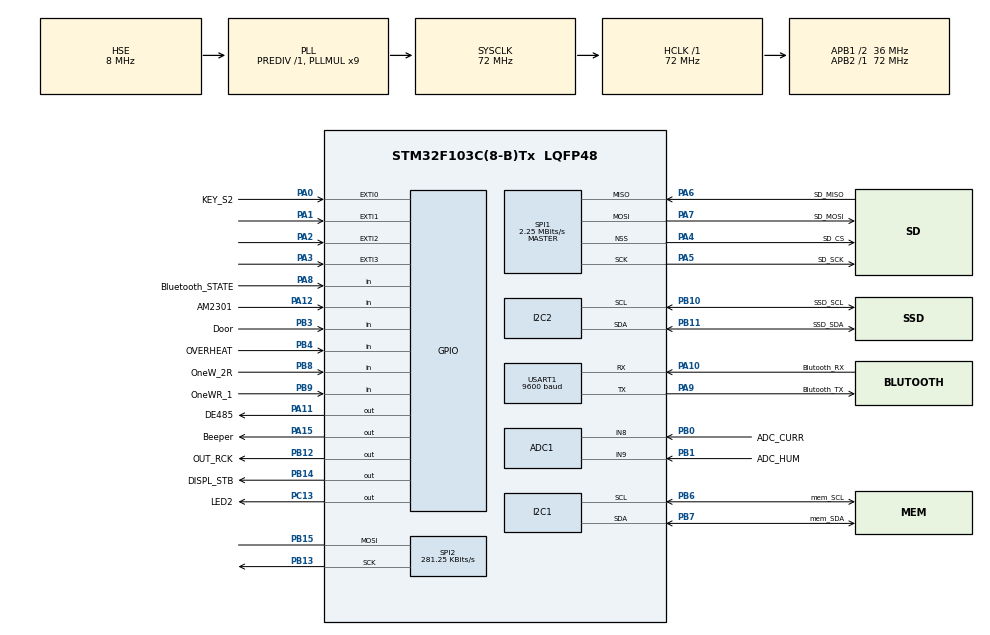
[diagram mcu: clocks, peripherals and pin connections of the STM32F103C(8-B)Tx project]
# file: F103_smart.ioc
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Mcu.Family=STM32F1
PA11.GPIO_Speed=GPIO_SPEED_FREQ_MEDIUM
PA6.Mode=Full_Duplex_Master
SPI1.VirtualType=VM_MASTER
SPI2.VirtualType=VM_MASTER
PB10.Mode=I2C
PA10.GPIO_PuPd=GPIO_PULLUP
USART1.BaudRate=9600
PB14.GPIO_Label=DISPL_STB
PA6.GPIO_Label=SD_MISO
PB0.GPIO_Label=ADC_CURR
PB6.GPIO_Label=mem_SCL
PA11.GPIO_PuPd=GPIO_PULLDOWN
PB11.Signal=I2C2_SDA
PB13.Signal=SPI2_SCK
PB15.Signal=SPI2_MOSI
RCC.SYSCLKSource=RCC_SYSCLKSOURCE_PLLCLK
ProjectManager.StackSize=0x400
PD1-OSC_OUT.Signal=RCC_OSC_OUT
PA15.GPIO_Label=Beeper
PA12.Signal=GPIO_Input
PA4.Mode=NSS_Signal_Hard_Output
ADC1.Channel-3\#ChannelRegularConversion=ADC_CHANNEL_8
SPI1.Direction=SPI_DIRECTION_2LINES
RCC.HCLKFreq_Value=72000000
RCC.APB2TimFreq_Value=72000000
TIM3.Period=2399
PB6.Signal=I2C1_SCL
Dma.ADC1.0.Direction=DMA_PERIPH_TO_MEMORY
PB12.PinState=GPIO_PIN_RESET
PB6.Mode=I2C
SPI1.CalculateBaudRate=2.25 MBits/s
Dma.ADC1.0.MemDataAlignment=DMA_MDATAALIGN_HALFWORD
RCC.AHBFreq_Value=72000000
SPI2.BaudRatePrescaler=SPI_BAUDRATEPRESCALER_128
RCC.PLLMUL=RCC_PLL_MUL9
PB12.GPIO_Label=OUT_RCK
ADC1.SamplingTime-4\#ChannelRegularConversion=ADC_SAMPLETIME_1CYCLE_5
PB3.GPIO_PuPd=GPIO_PULLUP
PA14.Mode=Serial_Wire
TIM3.Prescaler=2999
PB1.GPIO_Label=ADC_HUM
Dma.ADC1.0.PeriphInc=DMA_PINC_DISABLE
PA10.GPIO_Label=Blutooth_RX
SH.ADCx_IN8.0=ADC1_IN8,IN8
SPI2.CalculateBaudRate=281.25 KBits/s
PB7.Signal=I2C1_SDA
PA8.Signal=GPIO_Input
SPI1.VirtualNSS=VM_NSSHARD
TIM4.Period=2999
PC13-TAMPER-RTC.GPIO_Speed=GPIO_SPEED_FREQ_MEDIUM
PB7.GPIO_Label=mem_SDA
Mcu.Package=LQFP48
PB9.Signal=GPIO_Input
PB14.GPIO_PuPd=GPIO_PULLUP
PB1.Signal=ADCx_IN9
PA6.Signal=SPI1_MISO
SPI2.Mode=SPI_MODE_MASTER
PC13-TAMPER-RTC.GPIO_PuPd=GPIO_PULLUP
PA10.Signal=USART1_RX
PB9.GPIO_PuPd=GPIO_PULLUP
PA15.Signal=GPIO_Output
SH.ADCx_IN9.0=ADC1_IN9,IN9
RCC.APB1TimFreq_Value=72000000
SPI2.Direction=SPI_DIRECTION_1LINE
PB13.Mode=Simplex_Bidirectional_Master
NVIC.USART1_IRQn=true\:0\:0\:false\:false\:true\:true\:true
PA12.GPIO_PuPd=GPIO_PULLUP
Dma.Request0=ADC1
SPI1.BaudRatePrescaler=SPI_BAUDRATEPRESCALER_32
I2C2.I2C_Mode=I2C_Fast
PA4.GPIO_Label=SD_CS
VP_TIM3_VS_ClockSourceINT.Mode=Internal
ADC1.Rank-4\#ChannelRegularConversion=2
PB4.Signal=GPIO_Input
PA3.Signal=GPXTI3
PA5.Mode=Full_Duplex_Master
PB3.GPIO_Label=Door
RCC.PLLSourceVirtual=RCC_PLLSOURCE_HSE
Dma.ADC1.0.Instance=DMA1_Channel1
PA7.Mode=Full_Duplex_Master
PD1-OSC_OUT.Mode=HSE-External-Oscillator
PB9.GPIO_Label=OneWR_1
ADC1.Channel-4\#ChannelRegularConversion=ADC_CHANNEL_9
PA10.Mode=Asynchronous
PA9.GPIO_Label=Blutooth_TX
PB8.GPIO_PuPd=GPIO_PULLUP
PB11.GPIO_Label=SSD_SDA
PC13-TAMPER-RTC.Signal=GPIO_Output
PA11.GPIO_Label=DE485
PD0-OSC_IN.Signal=RCC_OSC_IN
RCC.APB1CLKDivider=RCC_HCLK_DIV2
PA0-WKUP.GPIO_ModeDefaultEXTI=GPIO_MODE_IT_FALLING
PA12.GPIO_Label=AM2301
PA0-WKUP.GPIO_Label=KEY_S2
PA0-WKUP.Signal=GPXTI0
RCC.ADCPresc=RCC_ADCPCLK2_DIV6
PA13.Signal=SYS_JTMS-SWDIO
PB8.GPIO_Label=OneW_2R
Dma.ADC1.0.PeriphDataAlignment=DMA_PDATAALIGN_HALFWORD
PA9.Mode=Asynchronous
PA8.GPIO_Label=Bluetooth_STATE
PB11.Mode=I2C
ProjectManager.TargetToolchain=MDK-ARM V5
PB14.GPIO_Speed=GPIO_SPEED_FREQ_MEDIUM
PB10.GPIO_Label=SSD_SCL
Dma.ADC1.0.Mode=DMA_NORMAL
Dma.ADC1.0.Priority=DMA_PRIORITY_LOW
PA9.Signal=USART1_TX
PB4.GPIO_PuPd=GPIO_PULLUP
RCC.USBFreq_Value=72000000
TIM4.Prescaler=23999
PA1.Signal=GPXTI1
PB12.GPIO_Speed=GPIO_SPEED_FREQ_MEDIUM
PD0-OSC_IN.Mode=HSE-External-Oscillator
PB10.Signal=I2C2_SCL
PB14.Signal=GPIO_Output
PA5.Signal=SPI1_SCK
board=custom
PC13-TAMPER-RTC.GPIO_Label=LED2
PB15.Mode=Simplex_Bidirectional_Master
NVIC.TIM3_IRQn=true\:0\:0\:false\:false\:true\:true\:true
RCC.APB2Freq_Value=72000000
PB4.GPIO_Label=OVERHEAT
SPI1.Mode=SPI_MODE_MASTER
ADC1.NbrOfConversion=2
PA13.Mode=Serial_Wire
Mcu.Name=STM32F103C(8-B)Tx
PA2.Signal=GPXTI2
PB3.Signal=GPIO_Input
PA4.Signal=SPI1_NSS
RCC.SYSCLKFreq_VALUE=72000000
PA7.GPIO_Label=SD_MOSI
ADC1.master=1
PA5.GPIO_Label=SD_SCK
ADC1.Rank-3\#ChannelRegularConversion=1
ADC1.SamplingTime-3\#ChannelRegularConversion=ADC_SAMPLETIME_1CYCLE_5
SPI2.FirstBit=SPI_FIRSTBIT_LSB
USART1.VirtualMode=VM_ASYNC
PB7.Mode=I2C
PA11.Signal=GPIO_Output
PA14.Signal=SYS_JTCK-SWCLK
Dma.ADC1.0.MemInc=DMA_MINC_ENABLE
ProjectManager.HeapSize=0x200
PA8.GPIO_PuPd=GPIO_PULLDOWN
VP_TIM4_VS_ClockSourceINT.Mode=Internal
NVIC.PriorityGroup=NVIC_PRIORITYGROUP_4
ADC1.NbrOfConversionFlag=1
PA15.GPIO_PuPd=GPIO_PULLUP
PB8.Signal=GPIO_Input
PA0-WKUP.GPIO_PuPd=GPIO_PULLUP
NVIC.DMA1_Channel1_IRQn=true\:0\:0\:false\:false\:true\:false\:true
PB12.GPIO_PuPd=GPIO_PULLDOWN
NVIC.TIM4_IRQn=true\:0\:0\:false\:false\:true\:true\:true
PA11.PinState=GPIO_PIN_RESET
RCC.APB1Freq_Value=36000000
PB0.Signal=ADCx_IN8
PB12.Signal=GPIO_Output
PA7.Signal=SPI1_MOSI

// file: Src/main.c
/* USER CODE BEGIN Header */
/**
  ******************************************************************************
  * @file           : main.c
  * @brief          : Main program body
  ******************************************************************************
  * @attention
  *
  * <h2><center>&copy; Copyright (c) 2019 STMicroelectronics.
  * All rights reserved.</center></h2>
  *
  * This software component is licensed by ST under BSD 3-Clause license,
  * the "License"; You may not use this file except in compliance with the
  * License. You may obtain a copy of the License at:
  *                        opensource.org/licenses/BSD-3-Clause
  *
  ******************************************************************************
  */
/* USER CODE END Header */

#include "main.h"

/* USER CODE BEGIN Includes */
#include "proc.h"
#include "module.h"
#include "ds18b20.h"
#include "hih.h"
//#include "stm32f1xx_hal_adc.h"
/* USER CODE END Includes */

/* USER CODE BEGIN PD */
void bluetoothCallback(void);
void bluetoothName(void);
/* USER CODE END PD */

ADC_HandleTypeDef hadc1;
DMA_HandleTypeDef hdma_adc1;

I2C_HandleTypeDef hi2c1;
I2C_HandleTypeDef hi2c2;

SPI_HandleTypeDef hspi1;
SPI_HandleTypeDef hspi2;

TIM_HandleTypeDef htim3;
TIM_HandleTypeDef htim4;

UART_HandleTypeDef huart1;

/* USER CODE BEGIN PV */
volatile uint16_t adc[2] = {0,0};      // у нас два канала АЦП, поэтому массив из двух элементов
volatile uint8_t flag = 0;             // флаг окончания преобразования АЦП

union Byte portOut;
union Byte portFlag;

extern uint8_t ds18b20_amount, disableBeep, topOwner, topUser, botUser, ok0, ok1, psword, pvAeration;
extern int16_t buf, valRun;

extern struct {
  uint8_t RXBuffer[2];
  uint8_t TXBuffer[2];
  uint8_t buf[60];
  uint8_t ind;
  uint8_t timeOut;
  uint8_t devOk;
} bluetoothData;

extern struct {
  uint8_t eepAddr;
  uint8_t sizeAddr;
  uint8_t pageSize;
} eepMem;

// -------- ISIDA ------
uint8_t show=0, getButton=0, modules=0, setup, servis, waitset, waitkey=WAITCOUNT;
int8_t countsec=-10, displmode;
/*
ext[0] модуль Холла
ext[1] модуль ГОРИЗОНТА
ext[2] модуль СО2
ext[3] модуль заслонок
*/
int16_t pwTriac0, pwTriac1, pulsPeriod, beepOn, alarmErr;
uint16_t currAdc, humAdc, statPw[2];
/* ----------------------------- BEGIN point value -------------------------------------- */
union pointvalue{
  uint8_t pvdata[30];
  struct rampv {
   uint16_t cellID;               // 2 байт ind=0         сетевой номер и тип прибора
    int16_t pvT[MAX_DEVICES];     // 8 байт ind=2-ind=9   значения [MAX_DEVICES] датчиков температуры
    int16_t pvRH;                 // 2 байт ind=10;ind=11 значение датчика относительной влажности
    int16_t pvCO2[3];             // 6 байт ind=12-ind=17 значения датчика CO2 ---------- ИТОГО 18 bytes ------------
    uint8_t pvTimer;              // 1 байт ind=18        значение таймера
    uint8_t pvTmrCount;           // 1 байт ind=19        не используется !!!!!!!!!!!!!!!!!!!!!!!!!
    uint8_t pvFlap;               // 1 байт ind=20        положение заслонки
    int8_t power;                 // 1 байт ind=21        мощность подаваемая на тены
    uint8_t fuses;                // 1 байт ind=22        короткие замыкания
    uint8_t errors, warning;      // 2 байт ind=23;ind=24 ошибки и предупреждения
    uint8_t cost0, cost1;         // 2 байт ind=25;ind=26 затраты ресурсов
    uint8_t date, hours;          // 2 байт ind=27;ind=28 счетчики суток и часов
    uint8_t other0;               // 1 байт ind=29        не используется !!!!!!!!!!!!!!!!!!!!!!!!!
  } pv;// ------------------ ИТОГО 30 bytes -------------------------------
} upv;

uint32_t summCurr=0;

/* ----------------------------- BEGIN EEPROM ------------------------------------------- */
union serialdata{
  uint8_t data[EEP_DATA];
  struct eeprom {
    int16_t spT[2];     // 4 байт ind=0-ind=3   Уставка температуры sp[0].spT->Сухой датчик; sp[1].spT->Влажный датчик
    int16_t spRH[2];    // 4 байт ind=4-ind=7   sp[0].spRH->ПОДСТРОЙКА HIH-5030; sp[1].spRH->Уставка влажности Датчик HIH-5030
    int16_t K[2];       // 4 байт ind=8-ind=11  пропорциональный коэфф.
    int16_t Ti[2];      // 4 байт ind=12-ind=15 интегральный коэфф.
    int16_t minRun;     // 2 байт ind=16;ind=17 импульсное управление насосом увлажнителя
    int16_t maxRun;     // 2 байт ind=18;ind=19 не используется !!!!!!!!!!!!!!!!!!!!!!!!!
    int16_t period;     // 2 байт ind=20;ind=21 импульсное управление насосом увлажнителя
    int16_t TimeOut;    // 2 байт ind=22;ind=23 время ожидания начала режима охлаждения
    int16_t EnergyMeter;// 2 байт ind=24;ind=25 счетчик элктрической энергии  ----------- ИТОГО 26 bytes ------------
    int8_t timer[2];    // 2 байт ind=26;ind=27 [0]-отключ.состояниe [1]-включ.состояниe
    int8_t alarm[2];    // 2 байт ind=28;ind=29 дельта 5 = 0.5 гр.C
    int8_t extOn[2];    // 2 байт ind=30;ind=31 смещение для ВКЛ. вспомогательного канала
    int8_t extOff[2];   // 2 байт ind=32;ind=33 смещение для ОТКЛ. вспомогательного канала
    uint8_t air[2];     // 2 байт ind=34;ind=35 таймер проветривания air[0]-пауза; air[1]-работа; если air[1]=0-ОТКЛЮЧЕНО
    uint8_t spCO2;      // 1 байт ind=36;       опорное значение для управления концетрацией СО2
    uint8_t identif;    // 1 байт ind=37;       сетевой номер прибора
    uint8_t condition;  // 1 байт ind=38;       состояние камеры (ОТКЛ. ВКЛ. ОХЛАЖДЕНИЕ, и т.д.)
    uint8_t extendMode; // 1 байт ind=39;       расширенный режим работы  0-СИРЕНА; 1-ВЕНТ. 2-Форс НАГР. 3-Форс ОХЛЖД. 4-Форс ОСУШ. 5-Дубляж увлажнения
    uint8_t relayMode;  // 1 байт ind=40;       релейный режим работы  0-НЕТ; 1->по кан.[0] 2->по кан.[1] 3->по кан.[0]&[1] 4->по кан.[1] импульсный режим
    uint8_t programm;   // 1 байт ind=41;       работа по программе
    uint8_t Hysteresis; // 1 байт ind=42;       Гистерезис канала увлажнения
    uint8_t ForceHeat;  // 1 байт ind=43;       Форсированный нагрев 5 = 0.5 грд.С.
    uint8_t TurnTime;   // 1 байт ind=44;       время ожидания прохода лотков в секундах
    uint8_t HihEnable;  // 1 байт ind=45;       разрешение использования датчика влажности
    uint8_t KoffCurr;   // 1 байт ind=46;       маштабный коэф. по току симистора  (160 для AC1010 или 80 для другого)
    uint8_t coolOn;     // 1 байт ind=47;       не используется !!!!!!!!!!!!!!!!!!!!!!!!!
    uint8_t coolOff;    // 1 байт ind=48;       не используется !!!!!!!!!!!!!!!!!!!!!!!!!
    uint8_t Zonality;   // 1 байт ind=49;       порог зональности в камере ----------- 24 bytes ------------
  } sp;                 // ------------------ ИТОГО 50 bytes -------------------------------
} eep;

/* ------------------------------ END EEPROM -------------------------------------------- */
#include "output.h"
#include "displ.h"
void dsplMss(uint8_t *data, struct rampv *ram);
void temperature_check(struct rampv *ram);
void am2301_port_init(void);
uint8_t am2301_Start(void);
uint8_t am2301_Read(struct rampv *ram, uint8_t biasHum);
void display(struct eeprom *t, struct rampv *ram);
void display_setup(struct eeprom *t);
void display_servis(struct rampv *ram);
void displ_3(int16_t val, int8_t mode, int8_t blink);
void rotate_trays(uint8_t timer0, uint8_t timer1, struct rampv *ram);
uint8_t sethorizon(uint8_t timer0, uint8_t TurnTime, struct rampv *ram);
int8_t chkflap(uint8_t cmd, uint8_t *pvF);
uint8_t readCO2(struct rampv *ram);
//------
void saveservis(struct eeprom *t);
void saveset(struct eeprom *t);
uint8_t reset(uint16_t memAddr, uint8_t *data);
void checkkey(struct eeprom *t, int16_t pvT0);
//void pushkey(void);
void chkdoor(struct eeprom *t, struct rampv *ram);
void init(struct eeprom *t, struct rampv *ram);
/* USER CODE END PV */

void SystemClock_Config(void);
static void MX_GPIO_Init(void);
static void MX_DMA_Init(void);
static void MX_I2C1_Init(void);
static void MX_I2C2_Init(void);
static void MX_ADC1_Init(void);
static void MX_TIM3_Init(void);
static void MX_TIM4_Init(void);
static void MX_SPI2_Init(void);
static void MX_USART1_UART_Init(void);
static void MX_SPI1_Init(void);

int main(void)
{
  /* USER CODE BEGIN 1 */
  int8_t tmpbyte;
  /* USER CODE END 1 */

  /* MCU Configuration--------------------------------------------------------*/

  /* Reset of all peripherals, Initializes the Flash interface and the Systick. */
  HAL_Init();

  /* USER CODE BEGIN Init */
  sysTick_Init();   // 1mS
  bluetoothData.TXBuffer[0] = 0x0D;  bluetoothData.TXBuffer[1] = 0x0A;  // "\r\n"
  eepMem.eepAddr = (0x50 << 1); // HAL expects address to be shifted one bit to the left
  eepMem.sizeAddr = I2C_MEMADD_SIZE_8BIT;
  eepMem.pageSize = 16;          // AT24C04A или AT24C08A. The 4K/8K EEPROM is capable of 16-byte page writes
  portOut.value = 0;
  portFlag.value = 0;
  topOwner=MAXOWNER;
  topUser=TOPUSER;
  botUser=BOTUSER;
  CHECK = 1;
  /* USER CODE END Init */

  /* Configure the system clock */
  SystemClock_Config();

  /* Initialize all configured peripherals */
  MX_GPIO_Init();
  MX_DMA_Init();
  MX_I2C1_Init();
  MX_I2C2_Init();
  MX_ADC1_Init();
  MX_TIM3_Init();
  MX_TIM4_Init();
  MX_SPI2_Init();
  MX_USART1_UART_Init();
  MX_SPI1_Init();
  /* USER CODE BEGIN 2 */
  set_Output();
	HAL_TIM_Base_Start_IT(&htim4);	/* ------  таймер 1Гц.   период 1000 мс.  ----*/
	HAL_TIM_Base_Start_IT(&htim3);	/* ------  таймер 6Гц.   период 166 мс.  ----*/
  HAL_ADCEx_Calibration_Start(&hadc1);            // калибровкa АЦП
  HAL_UART_Receive_IT(&huart1,(uint8_t*)bluetoothData.RXBuffer,2);
//  HAL_GPIO_WritePin(LED2_GPIO_Port, LED2_Pin, GPIO_PIN_SET);  // LED Off
  //--------- ХОЛОСТОЕ ВЫПОЛНЕНИЕ при котором каналы распологаются правильно --------
  HAL_ADC_Start_DMA(&hadc1, (uint32_t*)&adc, 2);  // стартуем АЦП
  while(flag==0);
  flag = 0;
  //----------- Теперь каналы сдвинуты. Последний стал первым -----------------------
  HAL_ADC_Start_DMA(&hadc1, (uint32_t*)&adc, 2);  // стартуем АЦП
  while(flag==0);
  flag = 0;
  currAdc = adc[0]; humAdc = adc[1];
  adc[0] = 0; adc[1] = 0;

  for(int8_t i=0;i<8;i++) {setChar(i,SIMBL_BL); PointOn(i);}// BL+точки
  SendDataTM1638();
	SendCmdTM1638(0x8F);       // Transmit the display control command to set maximum brightness (8FH)

  eep_read(0x0000, eep.data);
  if (eep.sp.identif == 0 || eep.sp.identif > 30) eep_initial(0x0000, eep.data);

  bluetoothName();
  init(&eep.sp, &upv.pv);   // инициализация
  temperature_check(&upv.pv);
  /* USER CODE END 2 */

  /* Infinite loop */
  /* USER CODE BEGIN WHILE */
  getButton = waitkey/4;
	while (1)
	{
  //----------------------------------- Теперь будем опрашивать три канала на одном АЦП с помощью DMA… -------------------------------------------

  /* ------------------------------------------- BEGIN таймер TIM3 6 Гц. ----------------------------------------------------------------------- */
      if (getButton>waitkey/4) checkkey(&eep.sp, upv.pv.pvT[0]);  //
//      if (getButton>waitkey/4) pushkey();
  /* -------------------------------------------- END таймер TIM3 6 Гц. ------------------------------------------------------------------------ */
  /* ------------------------------------------- BEGIN таймер TIM4 1 Гц. ----------------------------------------------------------------------- */
      if(CHECK){   // ------- новая секунда --------------------------------------------------------------
        CHECK=0; DISPLAY=1; ALARM=0; upv.pv.errors=0; upv.pv.warning=0; upv.pv.pvTmrCount = countsec;
        HAL_ADC_Start_DMA(&hadc1, (uint32_t*)&adc, 2);
        while(flag==0);
        flag = 0;
        currAdc = adcTomV(adc[0]);      // Channel 8 (Port B0) в мВ.
        humAdc  = adcTomV(adc[1]);      // Channel (Port B1) 9 в мВ.
        adc[0] = 0; adc[1] = 0;
// ----------- ************************************** --------------------------------------------------
        temperature_check(&upv.pv);
        if(AM2301) am2301_Read(&upv.pv, eep.sp.spRH[0]);
        else if(HIH5030){
           if(humAdc > 500){                          // humAdc => 500 mV для RH=0%
              upv.pv.pvRH = mVToRH(humAdc, eep.sp.spRH[0], upv.pv.pvT[0]);  // перевод в десятичное значение относительной влажности (%)
           }
           else upv.pv.pvRH = 255;
        }
  //---------------------- Состояние дверей; "подгототка к ОХЛАЖДЕНИЮ"; "подгототка к ВКЛЮЧЕНИЮ" --------------------------------------------------
        chkdoor(&eep.sp, &upv.pv);
        if((eep.sp.condition&0x18)==0x08) eep.sp.condition|= sethorizon(eep.sp.timer[0], eep.sp.TurnTime, &upv.pv);  // Установка в горизонтальное положение
  //------------------------------------------ Опрос модулей расширения ---------------------------------------------------------------------------
        if(modules&1) {
          tmpbyte = chkcooler(eep.sp.condition);
          if(tmpbyte<0) upv.pv.errors |= 0x40;        // Отказ модуля Холла
          else if(tmpbyte>0) upv.pv.warning |= 0x20;  // ОСТАНОВ тихоходного вентилятора
        }
        if(modules&2) {
          tmpbyte = chkhorizon(eep.sp.condition);
          if(tmpbyte<0) upv.pv.errors |= 0x40; // Отказ модуля ГОРИЗОНТ
          else if(tmpbyte>0) upv.pv.warning |= 0x40;  // НЕТ ПОВОРОТА лотков
        }
        if(modules&4) {
          tmpbyte = readCO2(&upv.pv);
          if(tmpbyte<0) upv.pv.errors |= 0x20;        // Отказ модуля CO2
        }
        if(modules&8) {
          tmpbyte = chkflap(0,&upv.pv.pvFlap);
          if(tmpbyte<0) upv.pv.errors |= 0x20;        // Отказ модуля заслонок
        }
  //------------------------------------------ КАМЕРА ВКЛЮЧЕНА в работу ---------------------------------------------------------------------------
        if (eep.sp.condition&1){
          // --------------------------------------- НАГРЕВАТЕЛЬ -----------------------------------------------------------------
          if(HAL_GPIO_ReadPin(OVERHEAT_GPIO_Port, OVERHEAT_Pin)==GPIO_PIN_RESET) upv.pv.errors |= 0x10;  // ПЕРЕГРЕВ СИМИСТОРА !!!
          else if((upv.pv.warning&0x20)==0){    // НЕТ ОСТАНОВА тихоходного вентилятора !!!
            if(upv.pv.pvT[0] < 850){
              int16_t err = eep.sp.spT[0] - upv.pv.pvT[0];
              if(heatCondition(err, eep.sp.alarm[0], eep.sp.extOn[0])) upv.pv.warning |= 0x01;
              pwTriac0 = heater(err, &eep.sp);
              if(pwTriac0) HEATER = 1;  // HEATER On
            }
            else upv.pv.errors |= 0x01;   // ОШИБКА ДАТЧИКА температуры !!!
          }
          upv.pv.power = pwTriac0 / 10;
          if(upv.pv.power > 100) upv.pv.power = 100; else if(upv.pv.power < 0) upv.pv.power = 0;
          // --------------------------------------- УВЛАЖНИТЕЛЬ -----------------------------------------------------------------
          if(ok0&1){  // отключение УВЛАЖНЕНИЯ при РАЗОГРЕВЕ и ПЕРЕОХЛАЖДЕНИИ
            if(HIH5030||AM2301){  // подключен электронный датчик влажности
              int16_t err = eep.sp.spRH[1] - upv.pv.pvRH;
              if(humCondition(err, eep.sp.alarm[1], eep.sp.extOn[1])) upv.pv.warning |= 0x02;
              // релейный режим работы  0-НЕТ; 1->по кан.[0] 2->по кан.[1] 3->по кан.[0]&[1] 4->по кан.[1] импульсный режим
              if(eep.sp.relayMode==4) valRun = humidifier(err, &eep.sp);
              else {
                pwTriac1 = humidifier(err, &eep.sp);
                if(pwTriac1 && (upv.pv.fuses&0x01)==0) HUMIDI = 1;  // HUMIDIFIER On
              }
            }
            else if(upv.pv.pvT[1] < 850){
              int16_t err = eep.sp.spT[1] - upv.pv.pvT[1];
              if(humCondition(err, eep.sp.alarm[1], eep.sp.extOn[1])) upv.pv.warning |= 0x02;
              // релейный режим работы  0-НЕТ; 1->по кан.[0] 2->по кан.[1] 3->по кан.[0]&[1] 4->по кан.[1] импульсный режим
              if(eep.sp.relayMode==4) valRun = humidifier(err, &eep.sp);
              else {
                pwTriac1 = humidifier(err, &eep.sp);
                if(pwTriac1 && (upv.pv.fuses&0x01)==0) HUMIDI = 1;  // HUMIDIFIER On
              }
            }
            else upv.pv.errors |= 0x02;   // ОШИБКА ДАТЧИКА влажности !!!
          }
          // --------------------------------------- ОХЛАЖДЕНИЕ -----------------------------------------------------------------
          if(upv.pv.warning&0x20) tmpbyte = ON;     // ОСТАНОВ тихоходного вентилятора
          else {
            if(upv.pv.pvT[0] < 850){
              int16_t err = eep.sp.spT[0] - upv.pv.pvT[0];
              tmpbyte = RelayNeg(err, 0, eep.sp.extOn[0],eep.sp.extOff[0]);// доп. канал -> охлаждение
            }
            else upv.pv.errors |= 0x01;             // ОШИБКА ДАТЧИКА температуры !!!
          }
          if(upv.pv.fuses&0x02) tmpbyte = OFF;      // ПРЕДОХРАНИТЕЛЬ доп. канал №1
          switch (tmpbyte){
            case ON:  FLAP = ON;  upv.pv.pvFlap = FLAPOPEN;  if(modules&8) chkflap(SETFLAP,  &upv.pv.pvFlap); break;// установка заслонки
            case OFF: FLAP = OFF; upv.pv.pvFlap = FLAPCLOSE; if(modules&8) chkflap(DATAREAD, &upv.pv.pvFlap); break;// установка заслонки; сброс флага запрещения принудительной подачи воды
          }
          // --------------------------------------- ВСПОМОГАТЕЛЬНЫЙ -----------------------------------------------------------------
          extra_2(&eep.sp, &upv.pv);
  //---------------------------------------- ЗОНАЛЬНОСТЬ температуры камеры -----------------------------------------------------------------------
            if (ok0){
                if(HIH5030||AM2301) {if(ds18b20_amount>1) {if(abs(upv.pv.pvT[0]-upv.pv.pvT[1])>eep.sp.Zonality) upv.pv.warning |=0x08;}} // Большой перепад температур.
                else     {if(ds18b20_amount>2) {if(abs(upv.pv.pvT[0]-upv.pv.pvT[2])>eep.sp.Zonality) upv.pv.warning |=0x08;}};// Большой перепад температур.
            }
            if(!(HIH5030||AM2301) && (upv.pv.pvT[1]-upv.pv.pvT[0])>20) {upv.pv.warning =0x10; pwTriac0 = 500;}					// Неправильная конфигурация датчиков !!
  //--------------------------------------- ПОВОРОТ ЛОТКОВ Статистика камеры ----------------------------------------------------------------------
            if(eep.sp.KoffCurr){
//              currAdc *= eep.sp.KoffCurr; currAdc /= 100;                 // конверсия mV в mA
              summCurr += currAdc;                                        // суммирование тока симистора каждую секунду
              if(upv.pv.power==100 && countsec>=0 && currAdc<500) upv.pv.errors|=0x08;  // если ток < 1,0 А. -> НЕИСПРАВНА цепь НАГРЕВАТЕЛЯ
            }
            // АНАЛИЗ АВАРИЙНОЙ СИТУАЦИИ (важно в этом месте после анализа мощности)
            int16_t newErr = abs(eep.sp.spT[0]-upv.pv.pvT[0]);
            if((upv.pv.warning & 3)&&(newErr-alarmErr)>2) disableBeep=0;  // если при блокироке сирены продолжает увеличиватся ошибка сброс блокировки
            if(countsec>59){
                countsec=0; if (disableBeep) disableBeep--;
              if(!(eep.sp.condition&0x18)) rotate_trays(eep.sp.timer[0], eep.sp.timer[1], &upv.pv);  // выполняется только если Камера ВКЛ.
//              if(upv.pv.pvCO2[0]>0) CO2_check(eep.sp.spCO2, eep.sp.spCO2, upv.pv.pvCO2[0]); // Проверка концентрации СО2
              else if(eep.sp.air[1]>0) aeration_check(eep.sp.air[0], eep.sp.air[1]);    // Проветривание выполняется только если air[1]>0
              statPw[0]/=60; statPw[1]/=60;     // расчет затрат ресурсов
              upv.pv.cost0=statF2(0, statPw[1]); upv.pv.cost1=statF2(1, statPw[1]); // расчет затрат ресурсов
              statPw[0]=0; statPw[1]=0;         // расчет затрат ресурсов
              summCurr *= 220;
              eep.sp.EnergyMeter += (summCurr/60);// расход эл.энергии за минуту
              summCurr = 0;
            }
        }
  //---------------------------------------------- КАМЕРА ОТКЛЮЧЕНА -------------------------------------------------------------------------------
        else if((eep.sp.condition&7)==0){
            if(eep.sp.relayMode==4) valRun = 0;                            // ОТКЛЮЧИТЬ импульсное управление увлажнителем
            if(servis){                                                   // включен СЕРВИСНЫЙ режим
              switch (servis){
                 case 1: pwTriac0=MAXPULS; portOut.value = 0x01; break;   // НАГРЕВАТЕЛЬ
                 case 2: pwTriac1=MAXPULS; portOut.value = 0x02; break;   // УВЛАЖНИТЕЛЬ
                 case 3: portOut.value = 0x04; upv.pv.pvFlap = FLAPOPEN; if(modules&8) chkflap(SETFLAP, &upv.pv.pvFlap); break; // ПРОВЕТРИВАНИЕ, СЕРВОПРИВОД 90грд.
                 case 4: portOut.value = 0x08; break;                     // ДОПОЛНИТЕЛЬНЫЙ КАНАЛ
                 case 5: portOut.value = 0x10; break;                     // ЛОТКИ ВВЕРХ
                 default: portOut.value = 0; upv.pv.pvFlap=FLAPCLOSE;
                          if(modules&8) chkflap(DATAREAD, &upv.pv.pvFlap);// ВСЕ ОТКЛЮЧЕНО, СЕРВОПРИВОД 0грд.
              }
            }
            else {
               upv.pv.power=OFF; portOut.value &= 0x10; upv.pv.pvFlap=FLAPCLOSE; if(modules&8) chkflap(DATAREAD, &upv.pv.pvFlap); VENTIL = OFF;// CARBON = OFF;
               if(currAdc>1000){upv.pv.errors|=0x04;}   // если сила тока > 1000 mV ПРОБОЙ СИМИСТОРА!
               if(countsec>59){countsec=0; if(eep.sp.condition&0x80) rotate_trays(eep.sp.timer[0], eep.sp.timer[1], &upv.pv);} // Поворот лотков при ОТКЛЮЧЕННОЙ камере
  //--------------------------------------------------------------------------------------------------------------------------------------------
            }
        }
        if(waitset){
          if(--waitset==0) {if(EEPSAVE) eep_write(0x0000, eep.data); servis=0;setup=0;displmode=0;psword=0;buf=0;topUser=TOPUSER;botUser=BOTUSER;}// возвращяемся к основному экрану, сброс пароля
        }
        if(TURN && eep.sp.timer[1]){if(--upv.pv.pvTimer==0) { upv.pv.pvTimer=eep.sp.timer[0]; TURN = OFF;}} // только при sp[1].timer>0 -> асиметричный режим
        // -------------------------------------------------------------------------------------------
        if(HAL_GPIO_ReadPin(KEY_S2_GPIO_Port, KEY_S2_Pin)==GPIO_PIN_RESET){if (++show > 4) show = 0;}
        dsplMss(eep.data, &upv.pv);
        // -------------------------------------------------------------------------------------------
        if(HAL_GPIO_ReadPin(Bluetooth_STATE_GPIO_Port, Bluetooth_STATE_Pin)){ // если есть подключение по Bluetooth
          HAL_UART_Transmit(&huart1,(uint8_t*)upv.pvdata,30,0x1000);
          HAL_UART_Transmit(&huart1,(uint8_t*)eep.data,50,0x1000);
          HAL_UART_Transmit(&huart1,(uint8_t*)bluetoothData.TXBuffer,2,0x1000);
        }
//        else if(rx_buffer_overflow) check_command();      // если установлен флаг - "комманда компьютера"
      }
      /* ---------------- ИНДИКАЦИЯ ------------------------------------------------- */
      if(DISPLAY){
        DISPLAY = 0;
        if(setup) display_setup(&eep.sp);
        else if(servis) display_servis(&upv.pv);
        else display(&eep.sp, &upv.pv);
        ledOut(eep.sp.condition, upv.pv.fuses); SendDataTM1638(); set_Output();
      }
  /* -------------------------------------------- END таймер TIM4 1 Гц. ------------------------------------------------------------------------ */
    /* USER CODE END WHILE */

    /* USER CODE BEGIN 3 */
      if(pwTriac0 < 0) {pwTriac0=0; HEATER = 0; LEDOFF = 1;}  // HEATER Off
      if(pwTriac1 < 0) {pwTriac1=0; HUMIDI = 0; LEDOFF = 1;}  // HUMIDIFIER Off
      if(eep.sp.relayMode==4){                                 // импульсный режим работы насоса
        if(pulsPeriod < 0){
          pulsPeriod = eep.sp.period;
          if(pwTriac1 && (upv.pv.fuses&0x01)==0) {pwTriac1=valRun; HUMIDI = 1; LEDOFF = 1;}  // HUMIDIFIER On
        }
      }
      if(LEDOFF) {LEDOFF = 0; ledOut(eep.sp.condition, upv.pv.fuses); SendDataTM1638(); set_Output();}
      if(beepOn < 0) {beepOn=0; HAL_GPIO_WritePin(Beeper_GPIO_Port, Beeper_Pin, GPIO_PIN_RESET);}  // Beeper Off
      if(bluetoothData.ind == 0)  bluetoothData.timeOut=0;
      else if(bluetoothData.timeOut >= 10) {
        // ошибка таймаута больше 10 mS.
        HAL_UART_AbortReceive_IT(&huart1); // остановка приема
        bluetoothData.ind = 0; // признак ожидание первого байта
        bluetoothData.timeOut = 0;
        HAL_UART_Receive_IT(&huart1,(uint8_t*)bluetoothData.RXBuffer,2); // запуск приема
      }
	} // ---------------------------------- END while (1) ------------------------------------------------------------------------------------------
  /* USER CODE END 3 */
}

void SystemClock_Config(void)
{
  RCC_OscInitTypeDef RCC_OscInitStruct = {0};
  RCC_ClkInitTypeDef RCC_ClkInitStruct = {0};
  RCC_PeriphCLKInitTypeDef PeriphClkInit = {0};

  /** Initializes the CPU, AHB and APB busses clocks
  */
  RCC_OscInitStruct.OscillatorType = RCC_OSCILLATORTYPE_HSE;
  RCC_OscInitStruct.HSEState = RCC_HSE_ON;
  RCC_OscInitStruct.HSEPredivValue = RCC_HSE_PREDIV_DIV1;
  RCC_OscInitStruct.HSIState = RCC_HSI_ON;
  RCC_OscInitStruct.PLL.PLLState = RCC_PLL_ON;
  RCC_OscInitStruct.PLL.PLLSource = RCC_PLLSOURCE_HSE;
  RCC_OscInitStruct.PLL.PLLMUL = RCC_PLL_MUL9;
  if (HAL_RCC_OscConfig(&RCC_OscInitStruct) != HAL_OK)
  {
    Error_Handler();
  }
  /** Initializes the CPU, AHB and APB busses clocks
  */
  RCC_ClkInitStruct.ClockType = RCC_CLOCKTYPE_HCLK|RCC_CLOCKTYPE_SYSCLK
                              |RCC_CLOCKTYPE_PCLK1|RCC_CLOCKTYPE_PCLK2;
  RCC_ClkInitStruct.SYSCLKSource = RCC_SYSCLKSOURCE_PLLCLK;
  RCC_ClkInitStruct.AHBCLKDivider = RCC_SYSCLK_DIV1;
  RCC_ClkInitStruct.APB1CLKDivider = RCC_HCLK_DIV2;
  RCC_ClkInitStruct.APB2CLKDivider = RCC_HCLK_DIV1;

  if (HAL_RCC_ClockConfig(&RCC_ClkInitStruct, FLASH_LATENCY_2) != HAL_OK)
  {
    Error_Handler();
  }
  PeriphClkInit.PeriphClockSelection = RCC_PERIPHCLK_ADC;
  PeriphClkInit.AdcClockSelection = RCC_ADCPCLK2_DIV6;
  if (HAL_RCCEx_PeriphCLKConfig(&PeriphClkInit) != HAL_OK)
  {
    Error_Handler();
  }
}

static void MX_ADC1_Init(void)
{

  ADC_ChannelConfTypeDef sConfig = {0};

  /** Common config
  */
  hadc1.Instance = ADC1;
  hadc1.Init.ScanConvMode = ADC_SCAN_ENABLE;
  hadc1.Init.ContinuousConvMode = DISABLE;
  hadc1.Init.DiscontinuousConvMode = DISABLE;
  hadc1.Init.ExternalTrigConv = ADC_SOFTWARE_START;
  hadc1.Init.DataAlign = ADC_DATAALIGN_RIGHT;
  hadc1.Init.NbrOfConversion = 2;
  if (HAL_ADC_Init(&hadc1) != HAL_OK)
  {
    Error_Handler();
  }
  /** Configure Regular Channel
  */
  sConfig.Channel = ADC_CHANNEL_8;
  sConfig.Rank = ADC_REGULAR_RANK_1;
  sConfig.SamplingTime = ADC_SAMPLETIME_1CYCLE_5;
  if (HAL_ADC_ConfigChannel(&hadc1, &sConfig) != HAL_OK)
  {
    Error_Handler();
  }
  /** Configure Regular Channel
  */
  sConfig.Channel = ADC_CHANNEL_9;
  sConfig.Rank = ADC_REGULAR_RANK_2;
  if (HAL_ADC_ConfigChannel(&hadc1, &sConfig) != HAL_OK)
  {
    Error_Handler();
  }

}

static void MX_I2C1_Init(void)
{

  hi2c1.Instance = I2C1;
  hi2c1.Init.ClockSpeed = 100000;
  hi2c1.Init.DutyCycle = I2C_DUTYCYCLE_2;
  hi2c1.Init.OwnAddress1 = 0;
  hi2c1.Init.AddressingMode = I2C_ADDRESSINGMODE_7BIT;
  hi2c1.Init.DualAddressMode = I2C_DUALADDRESS_DISABLE;
  hi2c1.Init.OwnAddress2 = 0;
  hi2c1.Init.GeneralCallMode = I2C_GENERALCALL_DISABLE;
  hi2c1.Init.NoStretchMode = I2C_NOSTRETCH_DISABLE;
  if (HAL_I2C_Init(&hi2c1) != HAL_OK)
  {
    Error_Handler();
  }

}

static void MX_I2C2_Init(void)
{

  hi2c2.Instance = I2C2;
  hi2c2.Init.ClockSpeed = 400000;
  hi2c2.Init.DutyCycle = I2C_DUTYCYCLE_2;
  hi2c2.Init.OwnAddress1 = 0;
  hi2c2.Init.AddressingMode = I2C_ADDRESSINGMODE_7BIT;
  hi2c2.Init.DualAddressMode = I2C_DUALADDRESS_DISABLE;
  hi2c2.Init.OwnAddress2 = 0;
  hi2c2.Init.GeneralCallMode = I2C_GENERALCALL_DISABLE;
  hi2c2.Init.NoStretchMode = I2C_NOSTRETCH_DISABLE;
  if (HAL_I2C_Init(&hi2c2) != HAL_OK)
  {
    Error_Handler();
  }

}

static void MX_SPI1_Init(void)
{

  /* SPI1 parameter configuration*/
  hspi1.Instance = SPI1;
  hspi1.Init.Mode = SPI_MODE_MASTER;
  hspi1.Init.Direction = SPI_DIRECTION_2LINES;
  hspi1.Init.DataSize = SPI_DATASIZE_8BIT;
  hspi1.Init.CLKPolarity = SPI_POLARITY_LOW;
  hspi1.Init.CLKPhase = SPI_PHASE_1EDGE;
  hspi1.Init.NSS = SPI_NSS_HARD_OUTPUT;
  hspi1.Init.BaudRatePrescaler = SPI_BAUDRATEPRESCALER_32;
  hspi1.Init.FirstBit = SPI_FIRSTBIT_MSB;
  hspi1.Init.TIMode = SPI_TIMODE_DISABLE;
  hspi1.Init.CRCCalculation = SPI_CRCCALCULATION_DISABLE;
  hspi1.Init.CRCPolynomial = 10;
  if (HAL_SPI_Init(&hspi1) != HAL_OK)
  {
    Error_Handler();
  }

}

static void MX_SPI2_Init(void)
{

  /* SPI2 parameter configuration*/
  hspi2.Instance = SPI2;
  hspi2.Init.Mode = SPI_MODE_MASTER;
  hspi2.Init.Direction = SPI_DIRECTION_1LINE;
  hspi2.Init.DataSize = SPI_DATASIZE_8BIT;
  hspi2.Init.CLKPolarity = SPI_POLARITY_LOW;
  hspi2.Init.CLKPhase = SPI_PHASE_1EDGE;
  hspi2.Init.NSS = SPI_NSS_SOFT;
  hspi2.Init.BaudRatePrescaler = SPI_BAUDRATEPRESCALER_128;
  hspi2.Init.FirstBit = SPI_FIRSTBIT_LSB;
  hspi2.Init.TIMode = SPI_TIMODE_DISABLE;
  hspi2.Init.CRCCalculation = SPI_CRCCALCULATION_DISABLE;
  hspi2.Init.CRCPolynomial = 10;
  if (HAL_SPI_Init(&hspi2) != HAL_OK)
  {
    Error_Handler();
  }

}

static void MX_TIM3_Init(void)
{

  TIM_ClockConfigTypeDef sClockSourceConfig = {0};
  TIM_MasterConfigTypeDef sMasterConfig = {0};

  htim3.Instance = TIM3;
  htim3.Init.Prescaler = 2999;
  htim3.Init.CounterMode = TIM_COUNTERMODE_UP;
  htim3.Init.Period = 2399;
  htim3.Init.ClockDivision = TIM_CLOCKDIVISION_DIV1;
  htim3.Init.AutoReloadPreload = TIM_AUTORELOAD_PRELOAD_DISABLE;
  if (HAL_TIM_Base_Init(&htim3) != HAL_OK)
  {
    Error_Handler();
  }
  sClockSourceConfig.ClockSource = TIM_CLOCKSOURCE_INTERNAL;
  if (HAL_TIM_ConfigClockSource(&htim3, &sClockSourceConfig) != HAL_OK)
  {
    Error_Handler();
  }
  sMasterConfig.MasterOutputTrigger = TIM_TRGO_RESET;
  sMasterConfig.MasterSlaveMode = TIM_MASTERSLAVEMODE_DISABLE;
  if (HAL_TIMEx_MasterConfigSynchronization(&htim3, &sMasterConfig) != HAL_OK)
  {
    Error_Handler();
  }

}

static void MX_TIM4_Init(void)
{

  TIM_ClockConfigTypeDef sClockSourceConfig = {0};
  TIM_MasterConfigTypeDef sMasterConfig = {0};

  htim4.Instance = TIM4;
  htim4.Init.Prescaler = 23999;
  htim4.Init.CounterMode = TIM_COUNTERMODE_UP;
  htim4.Init.Period = 2999;
  htim4.Init.ClockDivision = TIM_CLOCKDIVISION_DIV1;
  htim4.Init.AutoReloadPreload = TIM_AUTORELOAD_PRELOAD_DISABLE;
  if (HAL_TIM_Base_Init(&htim4) != HAL_OK)
  {
    Error_Handler();
  }
  sClockSourceConfig.ClockSource = TIM_CLOCKSOURCE_INTERNAL;
  if (HAL_TIM_ConfigClockSource(&htim4, &sClockSourceConfig) != HAL_OK)
  {
    Error_Handler();
  }
  sMasterConfig.MasterOutputTrigger = TIM_TRGO_RESET;
  sMasterConfig.MasterSlaveMode = TIM_MASTERSLAVEMODE_DISABLE;
  if (HAL_TIMEx_MasterConfigSynchronization(&htim4, &sMasterConfig) != HAL_OK)
  {
    Error_Handler();
  }

}

static void MX_USART1_UART_Init(void)
{

  huart1.Instance = USART1;
  huart1.Init.BaudRate = 9600;
  huart1.Init.WordLength = UART_WORDLENGTH_8B;
  huart1.Init.StopBits = UART_STOPBITS_1;
  huart1.Init.Parity = UART_PARITY_NONE;
  huart1.Init.Mode = UART_MODE_TX_RX;
  huart1.Init.HwFlowCtl = UART_HWCONTROL_NONE;
  huart1.Init.OverSampling = UART_OVERSAMPLING_16;
  if (HAL_UART_Init(&huart1) != HAL_OK)
  {
    Error_Handler();
  }

}

static void MX_DMA_Init(void)
{

  /* DMA controller clock enable */
  __HAL_RCC_DMA1_CLK_ENABLE();

  /* DMA interrupt init */
  /* DMA1_Channel1_IRQn interrupt configuration */
  HAL_NVIC_SetPriority(DMA1_Channel1_IRQn, 0, 0);
  HAL_NVIC_EnableIRQ(DMA1_Channel1_IRQn);

}

static void MX_GPIO_Init(void)
{
  GPIO_InitTypeDef GPIO_InitStruct = {0};

  /* GPIO Ports Clock Enable */
  __HAL_RCC_GPIOC_CLK_ENABLE();
  __HAL_RCC_GPIOD_CLK_ENABLE();
  __HAL_RCC_GPIOA_CLK_ENABLE();
  __HAL_RCC_GPIOB_CLK_ENABLE();

  /*Configure GPIO pin Output Level */
  HAL_GPIO_WritePin(LED2_GPIO_Port, LED2_Pin, GPIO_PIN_RESET);

  /*Configure GPIO pin Output Level */
  HAL_GPIO_WritePin(GPIOB, OUT_RCK_Pin|DISPL_STB_Pin, GPIO_PIN_RESET);

  /*Configure GPIO pin Output Level */
  HAL_GPIO_WritePin(GPIOA, DE485_Pin|Beeper_Pin, GPIO_PIN_RESET);

  /*Configure GPIO pin : LED2_Pin */
  GPIO_InitStruct.Pin = LED2_Pin;
  GPIO_InitStruct.Mode = GPIO_MODE_OUTPUT_PP;
  GPIO_InitStruct.Pull = GPIO_PULLUP;
  GPIO_InitStruct.Speed = GPIO_SPEED_FREQ_MEDIUM;
  HAL_GPIO_Init(LED2_GPIO_Port, &GPIO_InitStruct);

  /*Configure GPIO pin : KEY_S2_Pin */
  GPIO_InitStruct.Pin = KEY_S2_Pin;
  GPIO_InitStruct.Mode = GPIO_MODE_IT_FALLING;
  GPIO_InitStruct.Pull = GPIO_PULLUP;
  HAL_GPIO_Init(KEY_S2_GPIO_Port, &GPIO_InitStruct);

  /*Configure GPIO pins : PA1 PA2 PA3 */
  GPIO_InitStruct.Pin = GPIO_PIN_1|GPIO_PIN_2|GPIO_PIN_3;
  GPIO_InitStruct.Mode = GPIO_MODE_IT_RISING;
  GPIO_InitStruct.Pull = GPIO_NOPULL;
  HAL_GPIO_Init(GPIOA, &GPIO_InitStruct);

  /*Configure GPIO pin : OUT_RCK_Pin */
  GPIO_InitStruct.Pin = OUT_RCK_Pin;
  GPIO_InitStruct.Mode = GPIO_MODE_OUTPUT_PP;
  GPIO_InitStruct.Pull = GPIO_PULLDOWN;
  GPIO_InitStruct.Speed = GPIO_SPEED_FREQ_MEDIUM;
  HAL_GPIO_Init(OUT_RCK_GPIO_Port, &GPIO_InitStruct);

  /*Configure GPIO pin : DISPL_STB_Pin */
  GPIO_InitStruct.Pin = DISPL_STB_Pin;
  GPIO_InitStruct.Mode = GPIO_MODE_OUTPUT_PP;
  GPIO_InitStruct.Pull = GPIO_PULLUP;
  GPIO_InitStruct.Speed = GPIO_SPEED_FREQ_MEDIUM;
  HAL_GPIO_Init(DISPL_STB_GPIO_Port, &GPIO_InitStruct);

  /*Configure GPIO pin : Bluetooth_STATE_Pin */
  GPIO_InitStruct.Pin = Bluetooth_STATE_Pin;
  GPIO_InitStruct.Mode = GPIO_MODE_INPUT;
  GPIO_InitStruct.Pull = GPIO_PULLDOWN;
  HAL_GPIO_Init(Bluetooth_STATE_GPIO_Port, &GPIO_InitStruct);

  /*Configure GPIO pin : DE485_Pin */
  GPIO_InitStruct.Pin = DE485_Pin;
  GPIO_InitStruct.Mode = GPIO_MODE_OUTPUT_PP;
  GPIO_InitStruct.Pull = GPIO_PULLDOWN;
  GPIO_InitStruct.Speed = GPIO_SPEED_FREQ_MEDIUM;
  HAL_GPIO_Init(DE485_GPIO_Port, &GPIO_InitStruct);

  /*Configure GPIO pin : AM2301_Pin */
  GPIO_InitStruct.Pin = AM2301_Pin;
  GPIO_InitStruct.Mode = GPIO_MODE_INPUT;
  GPIO_InitStruct.Pull = GPIO_PULLUP;
  HAL_GPIO_Init(AM2301_GPIO_Port, &GPIO_InitStruct);

  /*Configure GPIO pin : Beeper_Pin */
  GPIO_InitStruct.Pin = Beeper_Pin;
  GPIO_InitStruct.Mode = GPIO_MODE_OUTPUT_PP;
  GPIO_InitStruct.Pull = GPIO_PULLUP;
  GPIO_InitStruct.Speed = GPIO_SPEED_FREQ_LOW;
  HAL_GPIO_Init(Beeper_GPIO_Port, &GPIO_InitStruct);

  /*Configure GPIO pins : Door_Pin OVERHEAT_Pin OneW_2R_Pin OneWR_1_Pin */
  GPIO_InitStruct.Pin = Door_Pin|OVERHEAT_Pin|OneW_2R_Pin|OneWR_1_Pin;
  GPIO_InitStruct.Mode = GPIO_MODE_INPUT;
  GPIO_InitStruct.Pull = GPIO_PULLUP;
  HAL_GPIO_Init(GPIOB, &GPIO_InitStruct);

}

/* USER CODE BEGIN 4 */
void HAL_ADC_ConvCpltCallback(ADC_HandleTypeDef* hadc){
  if(hadc->Instance == ADC1) flag = 1;
}
void HAL_UART_RxCpltCallback(UART_HandleTypeDef *huart){
  if(huart==&huart1) bluetoothCallback();
}
/* USER CODE END 4 */

void Error_Handler(void)
{
}

/************************ (C) COPYRIGHT STMicroelectronics *****END OF FILE****/
